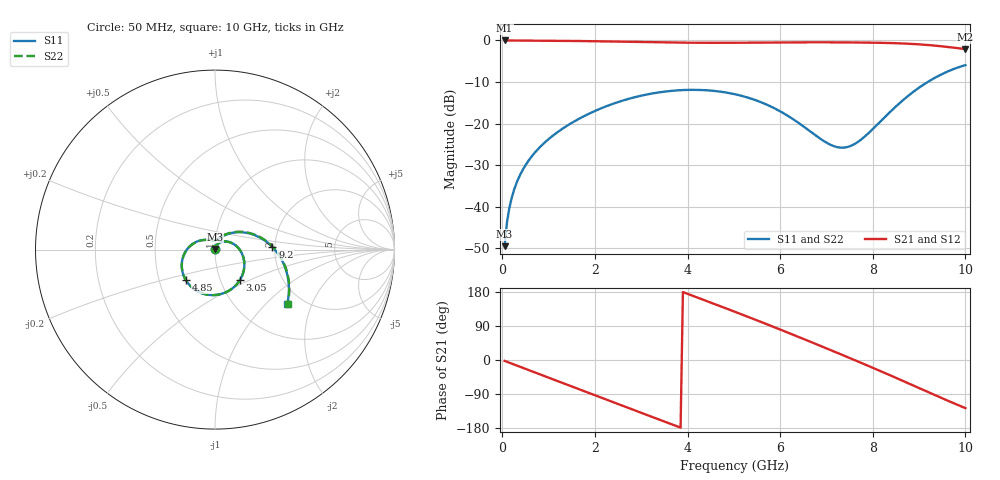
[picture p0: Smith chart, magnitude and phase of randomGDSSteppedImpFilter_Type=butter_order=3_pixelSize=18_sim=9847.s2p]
! freq	dB(S11)	phase(S11)	dB(S12)	phase(S12)
!  dB(S21)	phase(S21)	dB(S22)	phase(S22)
!S-par simulation data
#  GHz  S  DB  R 50
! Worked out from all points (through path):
!   200 points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, 50 MHz to 10 GHz, reference 50 ohm
!   highest |S21| = -0.01 dB at 50 MHz (marker M1); lowest = -2.1 dB at 10 GHz (marker M2)
!   group delay of S21, straight-line fit = 134 ps
!   lowest |S11| = -49.5 dB at 50 MHz (marker M3), VSWR 1.01, Z = 50.1 + j0.332 ohm
!   |S11| at or under -10 dB: start of sweep to 9.185 GHz
!   |S22| runs from -49.5 to -5.9 dB; largest |S21 - S12| = 0
!   S11 on the Smith chart (normalised r, x): 50 MHz: 1.00, +0.01; 3.05 GHz: 1.23, -0.44; 4.85 GHz: 0.69, -0.25; 9.2 GHz: 1.94, +0.06; 10 GHz: 1.65, -1.35
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0.05  -49.47 80.4  -0.01 -2.4  -0.01 -2.4  -49.47 80.4
0.1  -43.82 80.4  -0.01 -4.7  -0.01 -4.7  -43.82 80.4
0.2  -37.99 78.0  -0.02 -9.4  -0.02 -9.4  -37.99 78.0
0.5  -30.02 65.9  -0.04 -23.3  -0.04 -23.3  -30.02 65.9
1.15  -22.41 36.6  -0.09 -53.5  -0.09 -53.5  -22.41 36.7
1.75  -18.29 9.0  -0.16 -81.4  -0.16 -81.4  -18.29 9.0
2.35  -15.40 -18.8  -0.25 -109.3  -0.25 -109.3  -15.40 -18.8
3.05  -13.16 -51.1  -0.39 -141.7  -0.39 -141.7  -13.16 -51.0
3.4  -12.46 -67.1  -0.46 -157.8  -0.46 -157.8  -12.46 -67.0
4.1  -11.88 -99.0  -0.55 170.1  -0.55 170.1  -11.88 -98.8
4.85  -12.56 -133.3  -0.57 135.4  -0.57 135.4  -12.55 -133.1
5.05  -13.00 -142.6  -0.56 126.0  -0.56 126.0  -13.00 -142.3
5.5  -14.48 -163.8  -0.52 104.6  -0.52 104.6  -14.48 -163.4
5.9  -16.45 176.8  -0.48 85.3  -0.48 85.3  -16.44 177.3
6.7  -22.29 134.5  -0.44 45.8  -0.44 45.8  -22.28 135.9
7.15  -25.38 106.5  -0.46 23.2  -0.46 23.2  -25.40 108.9
7.45  -25.63 87.8  -0.48 7.9  -0.48 7.9  -25.67 90.5
7.9  -22.38 64.7  -0.52 -15.3  -0.52 -15.3  -22.41 66.8
8.35  -17.45 44.1  -0.62 -39.0  -0.62 -39.0  -17.47 45.5
8.8  -13.01 22.5  -0.81 -63.2  -0.81 -63.2  -13.02 23.5
9.2  -9.89 2.6  -1.11 -84.9  -1.11 -84.9  -9.89 3.3
10  -5.94 -37.3  -2.09 -127.0  -2.09 -127.0  -5.93 -36.7
